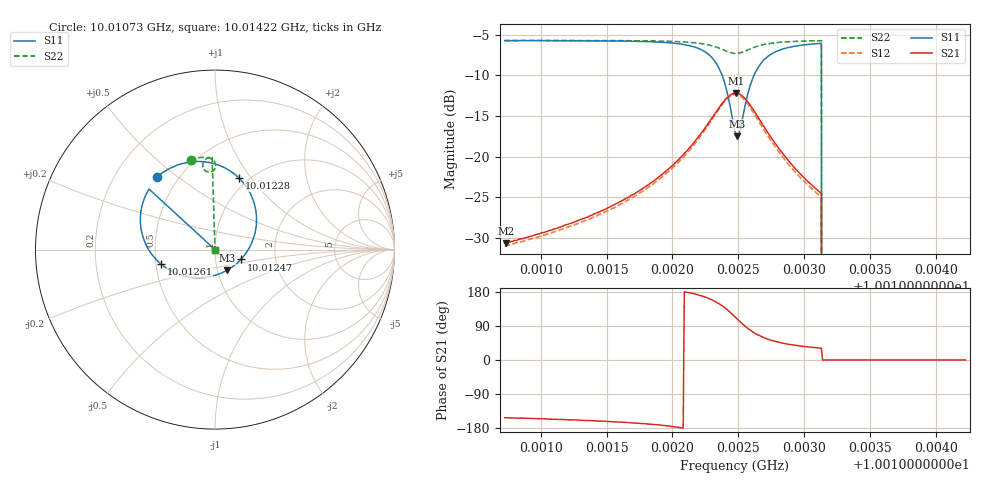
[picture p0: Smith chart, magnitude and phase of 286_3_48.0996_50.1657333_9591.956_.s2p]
#  HZ  S  RI  R  50.00
! Rohde & Schwarz Vector Network Analyzer
! Rohde-Schwarz,ZNB20-2Port,1311601062101988,3.16
! Created: UTC 12/23/2023, 4:03:17 AM
! freq[Hz]  re:S11  im:S11  re:S21  im:S21  re:S12  im:S12  re:S22  im:S22
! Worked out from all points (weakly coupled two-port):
!   401 points, 10.01073 GHz to 10.01422 GHz, reference 50 ohm
!   highest |S21| = -12.17 dB at 10.01248 GHz (marker M1); lowest = -30.7 dB at 10.01073 GHz (marker M2)
!   lowest |S11| = -17.5 dB at 10.01249 GHz (marker M3), VSWR 1.31, Z = 55.5 - j13 ohm
!   |S11| at or under -10 dB: 10.01238 GHz to 10.01262 GHz (241.5 kHz wide, 0.00241 % of centre); 10.01313 GHz to end of sweep
!   |S22| runs from - to -5.7 dB; largest |S21 - S12| = 0.012
!   S11 on the Smith chart (normalised r, x): 10.01073 GHz: 0.38, +0.43; 10.01228 GHz: 0.90, +0.88; 10.01247 GHz: 1.33, -0.15; 10.01261 GHz: 0.53, -0.10; 10.01422 GHz: 1.00, +0.00
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1.0010726e10  -0.3216 0.4068  -0.026 -0.0136  -0.0241 -0.0144  -0.1365 0.5015
1.0010735e10  -0.3207 0.4074  -0.0259 -0.0136  -0.0241 -0.0144  -0.1359 0.5018
1.0011312e10  -0.2639 0.4458  -0.0384 -0.0146  -0.0362 -0.0161  -0.0959 0.5105
1.0011898e10  -0.1421 0.4877  -0.0742 -0.0112  -0.0707 -0.0148  -0.0474 0.5134
1.0012151e10  -0.00162 0.4778  -0.1184 0.00883  -0.115 0.00199  -0.0178 0.5043
1.0012282e10  0.1333 0.399  -0.1564 0.0522  -0.1556 0.0424  -0.00042 0.4861
1.0012379e10  0.2275 0.217  -0.17 0.1287  -0.1732 0.1184  0.00277 0.4578
1.0012422e10  0.2203 0.0823  -0.1529 0.1772  -0.1576 0.1678  -0.00602 0.4425
1.0012466e10  0.1437 -0.055  -0.1093 0.2198  -0.116 0.2118  -0.0234 0.4324
1.0012475e10  0.1221 -0.0758  -0.0992 0.2252  -0.1053 0.2176  -0.0273 0.4318
1.0012484e10  0.0956 -0.097  -0.0873 0.2303  -0.0933 0.223  -0.0315 0.4314
1.0012492e10  0.0666 -0.1154  -0.0747 0.2339  -0.0807 0.227  -0.0359 0.4315
1.0012545e10  -0.115 -0.1563  -0.00465 0.2306  -0.0108 0.2242  -0.0572 0.4414
1.0012615e10  -0.3 -0.0815  0.0573 0.1852  0.0498 0.1795  -0.0686 0.4651
1.0012676e10  -0.3792 0.0169  0.0767 0.1423  0.0696 0.1379  -0.0664 0.4822
1.0012755e10  -0.4131 0.123  0.0804 0.1008  0.0731 0.0988  -0.0579 0.4968
1.0012886e10  -0.4086 0.2357  0.0703 0.0615  0.0641 0.0613  -0.0417 0.5095
1.0013061e10  -0.3794 0.3164  0.0554 0.0366  0.051 0.0372  -0.0231 0.5166
1.0013113e10  -0.3707 0.3324  0.0517 0.032  0.0478 0.0326  -0.0179 0.5178
1.0013157e10  0 0  0 0  0 0  0 0
1.0013647e10  0 0  0 0  0 0  0 0
1.0014224e10  0 0  0 0  0 0  0 0
